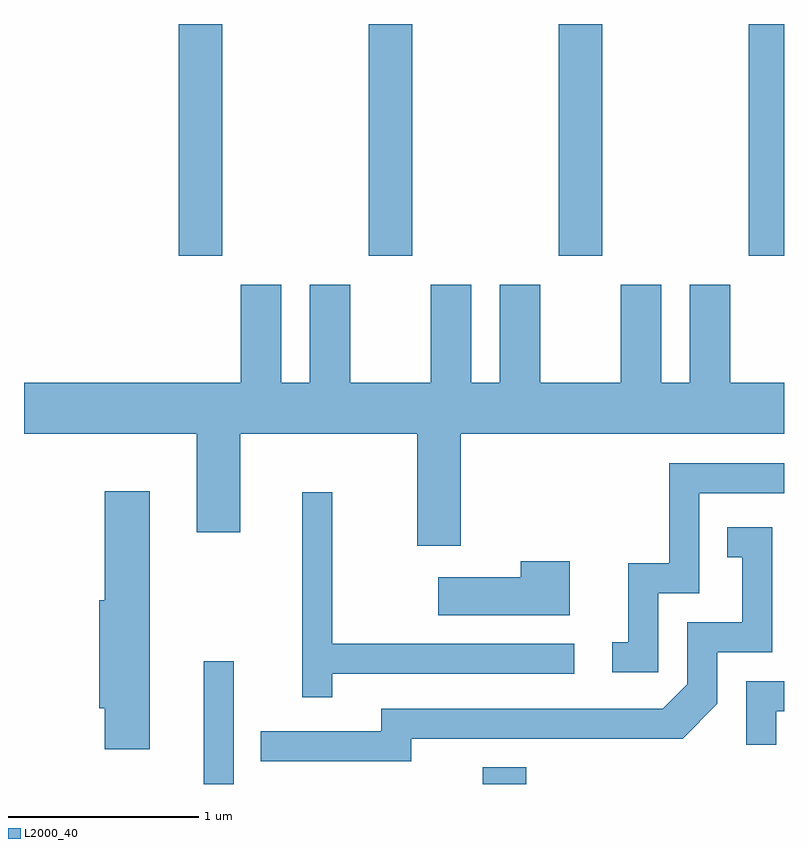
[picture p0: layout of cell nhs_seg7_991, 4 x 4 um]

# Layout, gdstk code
import gdstk
lib = gdstk.Library(unit=1e-6, precision=1e-09)
def R(c, l, rs):  # rectangles x0, y0, x1, y1
    for r in rs: c.add(gdstk.rectangle(r[:2], r[2:], *l))
def A(c, l, x, y, w, h, nx, ny, dx, dy):  # array of equal rectangles
    R(c, l, [(x+i*dx, y+j*dy, x+i*dx+w, y+j*dy+h) for i in range(nx) for j in range(ny)])
def P(c, l, *ps):  # polygons
    for p in ps: c.add(gdstk.Polygon(p, *l))
L2000_40 = (2000, 40)

nhs_seg7_991 = lib.new_cell('nhs_seg7_991')
A(nhs_seg7_991, L2000_40, 216.426, 1713.031, 0.228, 1.221, 3, 1, 1, 0)
R(nhs_seg7_991, L2000_40, [(216.556,1710.252,216.714,1710.898), (218.026,1710.252,218.254,1710.339), (219.426,1713.031,219.611,1714.252)])
P(nhs_seg7_991, L2000_40, [(217.909,1712.096),(219.611,1712.096),(219.611,1712.364),(219.329,1712.364),(219.329,1712.879),(219.116,1712.879),(219.116,1712.364),(218.964,1712.364),(218.964,1712.879),(218.751,1712.879),(218.751,1712.364),(218.329,1712.364),(218.329,1712.879),(218.116,1712.879),(218.116,1712.364),(217.964,1712.364),(217.964,1712.879),(217.751,1712.879),(217.751,1712.364),(217.329,1712.364),(217.329,1712.879),(217.116,1712.879),(217.116,1712.364),(216.964,1712.364),(216.964,1712.879),(216.751,1712.879),(216.751,1712.364),(215.611,1712.364),(215.611,1712.096),(216.521,1712.096),(216.521,1711.576),(216.749,1711.576),(216.749,1712.096),(217.681,1712.096),(217.681,1711.506),(217.909,1711.506)],
  [(218.949,1711.256),(219.164,1711.256),(219.164,1711.781),(219.611,1711.781),(219.611,1711.939),(219.006,1711.939),(219.006,1711.414),(218.791,1711.414),(218.791,1710.999),(218.708,1710.999),(218.708,1710.841),(218.949,1710.841)],
  [(216.274,1711.794),(216.036,1711.794),(216.036,1711.219),(216.006,1711.219),(216.006,1710.651),(216.036,1710.651),(216.036,1710.436),(216.274,1710.436)],
  [(217.234,1710.831),(218.508,1710.831),(218.508,1710.989),(217.234,1710.989),(217.234,1711.788),(217.076,1711.788),(217.076,1710.708),(217.234,1710.708)],
  [(217.649,1710.491),(219.077,1710.491),(219.259,1710.674),(219.259,1710.946),(219.549,1710.946),(219.549,1711.604),(219.313,1711.604),(219.313,1711.446),(219.391,1711.446),(219.391,1711.104),(219.101,1711.104),(219.101,1710.777),(218.974,1710.649),(217.491,1710.649),(217.491,1710.529),(216.858,1710.529),(216.858,1710.371),(217.649,1710.371)],
  [(218.484,1711.424),(218.226,1711.424),(218.226,1711.339),(217.791,1711.339),(217.791,1711.141),(218.484,1711.141)],
  [(219.569,1710.636),(219.611,1710.636),(219.611,1710.794),(219.411,1710.794),(219.411,1710.458),(219.569,1710.458)])

lib.write_gds('nhs_seg7_991.gds')
